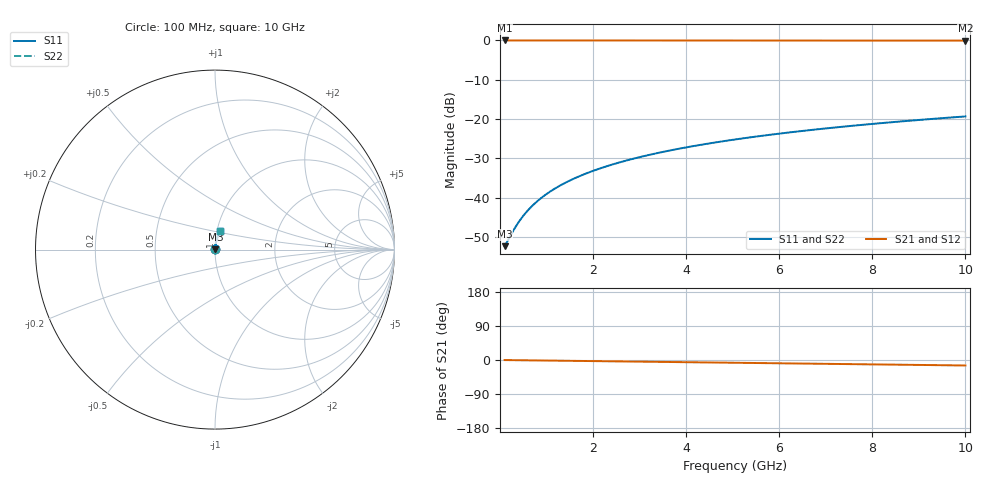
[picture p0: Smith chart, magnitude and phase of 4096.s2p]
# Hz S RI R 50.00
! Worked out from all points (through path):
!   100 points, 100 MHz to 10 GHz, reference 50 ohm
!   highest |S21| = -0.02 dB at 100 MHz (marker M1); lowest = -0.1 dB at 10 GHz (marker M2)
!   group delay of S21, straight-line fit = 4.02 ps
!   lowest |S11| = -52.3 dB at 100 MHz (marker M3), VSWR 1.00, Z = 50.2 + j0.109 ohm
!   |S11| at or under -10 dB: start of sweep to end of sweep
!   |S22| runs from -52.3 to -19.3 dB; largest |S21 - S12| = 0
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1e8  0.00216 0.00108  0.9978 -0.00252  0.9978 -0.00252  0.00216 0.00108
3e8  0.0022 0.00325  0.9978 -0.00755  0.9978 -0.00755  0.0022 0.00325
4e8  0.00223 0.00434  0.9977 -0.0101  0.9977 -0.0101  0.00223 0.00434
5e8  0.00226 0.00542  0.9977 -0.0126  0.9977 -0.0126  0.00226 0.00542
6e8  0.0023 0.00651  0.9977 -0.0151  0.9977 -0.0151  0.0023 0.00651
7e8  0.00234 0.00759  0.9976 -0.0176  0.9976 -0.0176  0.00234 0.00759
8e8  0.00239 0.00867  0.9975 -0.0201  0.9975 -0.0201  0.00239 0.00867
1e9  0.00249 0.0108  0.9974 -0.0252  0.9974 -0.0252  0.00249 0.0108
1.2e9  0.00262 0.013  0.9972 -0.0302  0.9972 -0.0302  0.00262 0.013
1.5e9  0.00285 0.0162  0.9969 -0.0377  0.9969 -0.0377  0.00285 0.0162
1.8e9  0.00313 0.0195  0.9965 -0.0453  0.9965 -0.0453  0.00313 0.0195
2.1e9  0.00346 0.0227  0.9961 -0.0528  0.9961 -0.0528  0.00346 0.0227
2.5e9  0.00397 0.027  0.9954 -0.0628  0.9954 -0.0628  0.00397 0.027
2.9e9  0.00457 0.0313  0.9945 -0.0729  0.9945 -0.0729  0.00457 0.0313
3.4e9  0.00544 0.0367  0.9933 -0.0854  0.9933 -0.0854  0.00544 0.0367
4.2e9  0.0071 0.0452  0.991 -0.1054  0.991 -0.1054  0.0071 0.0452
5.1e9  0.00939 0.0547  0.9879 -0.1278  0.9879 -0.1278  0.00939 0.0547
5.9e9  0.0118 0.063  0.9845 -0.1477  0.9845 -0.1477  0.0118 0.063
6.7e9  0.0145 0.0712  0.9808 -0.1674  0.9808 -0.1674  0.0145 0.0712
7.5e9  0.0176 0.0793  0.9765 -0.1871  0.9765 -0.1871  0.0176 0.0793
8.4e9  0.0214 0.0883  0.9712 -0.209  0.9712 -0.209  0.0214 0.0883
1e10  0.0292 0.1038  0.9603 -0.2476  0.9603 -0.2476  0.0292 0.1038
